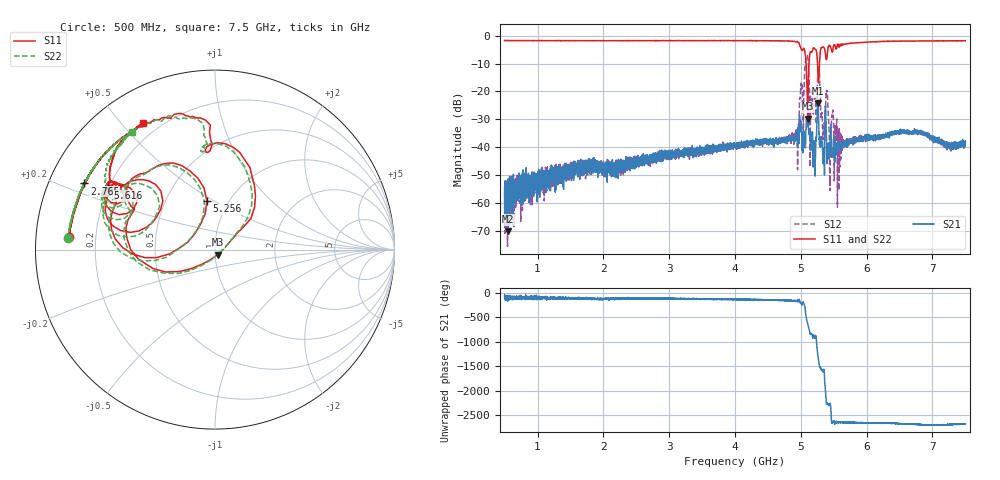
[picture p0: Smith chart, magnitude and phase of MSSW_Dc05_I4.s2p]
!Keysight Technologies,M9374A,MY55442783,A.12.55.05
!Date: Wednesday, May 19, 2021 19:18:23
!Correction: S11(Full 2 Port(1,2))
!S21(Full 2 Port(1,2))
!S12(Full 2 Port(1,2))
!S22(Full 2 Port(1,2))
!S2P File: Measurements: S11, S21, S12, S22:
# Hz S  RI  R 50
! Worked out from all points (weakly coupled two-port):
!   7001 points, 500 MHz to 7.5 GHz, reference 50 ohm
!   highest |S21| = -24.20 dB at 5.257 GHz (marker M1); lowest = -70.2 dB at 546 MHz (marker M2)
!   lowest |S11| = -29.7 dB at 5.105 GHz (marker M3), VSWR 1.07, Z = 51.4 - j2.99 ohm
!   |S11| at or under -10 dB: 5.08 GHz to 5.125 GHz (44.56 MHz wide, 0.873 % of centre); 5.254 GHz to 5.283 GHz (29.74 MHz wide, 0.565 % of centre)
!   |S22| runs from -30.2 to -1.7 dB; largest |S21 - S12| = 0.41
!   S11 on the Smith chart (normalised r, x): 500 MHz: 0.10, +0.04; 2.765 GHz: 0.11, +0.24; 5.256 GHz: 0.79, +0.46; 5.616 GHz: 0.20, +0.26; 7.5 GHz: 0.14, +0.57
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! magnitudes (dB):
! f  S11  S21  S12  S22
! 500 MHz  -1.7  -68.2  -58.1  -1.7
! 546 MHz  -1.7  -70.2  -54.5  -1.7
! 1.667 GHz  -1.8  -45.6  -47.0  -1.8
! 2.765 GHz  -1.8  -44.1  -44.6  -1.8
! 2.834 GHz  -1.8  -43.3  -42.8  -1.8
! 4 GHz  -1.8  -39.8  -40.1  -1.8
! 4.926 GHz  -2.3  -37.3  -34.1  -2.2
! 5.044 GHz  -4.5  -34.8  -24.2  -4.6
! 5.082 GHz  -10.7  -32.1  -7.7  -10.6
! 5.105 GHz  -29.7  -31.5  -7.9  -30.1
! 5.167 GHz  -5.9  -35.8  -20.1  -5.8
! 5.209 GHz  -4.7  -40.7  -22.3  -4.7
! 5.256 GHz  -11.3  -24.7  -14.9  -11.2
! 5.257 GHz  -11.8  -24.2  -14.6  -11.9
! 5.287 GHz  -8.5  -39.4  -15.4  -8.1
! 5.336 GHz  -4.0  -42.8  -37.2  -4.0
! 5.393 GHz  -8.3  -43.7  -20.1  -8.1
! 5.445 GHz  -3.8  -40.9  -45.4  -3.8
! 5.495 GHz  -3.9  -42.2  -30.0  -3.8
! 5.616 GHz  -3.2  -40.2  -40.4  -3.2
! 6.334 GHz  -2.0  -35.4  -35.1  -2.1
! 7.5 GHz  -1.8  -37.9  -38.0  -1.9
